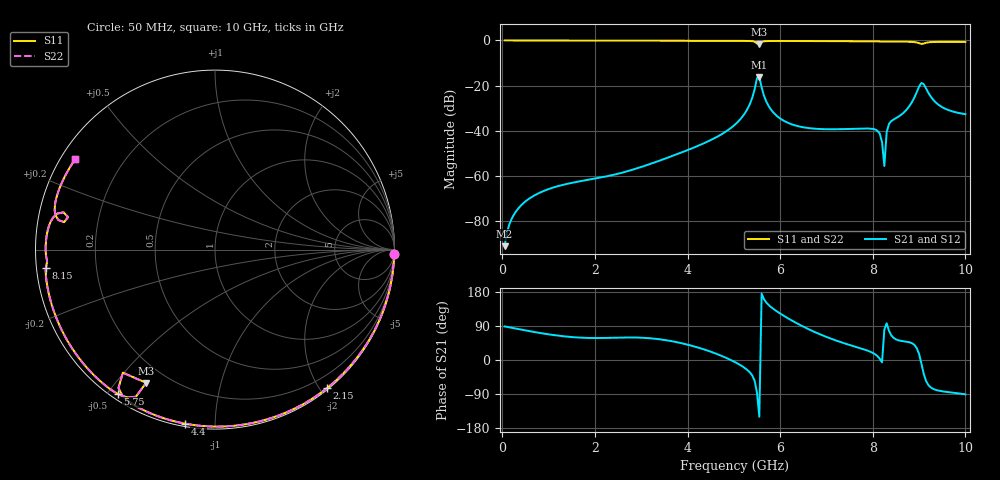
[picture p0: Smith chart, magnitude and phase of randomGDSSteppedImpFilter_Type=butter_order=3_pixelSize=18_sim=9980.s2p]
! freq	dB(S11)	phase(S11)	dB(S12)	phase(S12)
!  dB(S21)	phase(S21)	dB(S22)	phase(S22)
!S-par simulation data
#  GHz  S  DB  R 50
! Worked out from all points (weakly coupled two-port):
!   200 points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, 50 MHz to 10 GHz, reference 50 ohm
!   highest |S21| = -16.13 dB at 5.55 GHz (marker M1); lowest = -91.0 dB at 50 MHz (marker M2)
!   lowest |S11| = -1.6 dB at 5.55 GHz (marker M3), VSWR 11.17, Z = 6.12 - j30.1 ohm
!   |S11| at or under -10 dB: nowhere
!   |S22| runs from -1.6 to 0.0 dB; largest |S21 - S12| = 0
!   S11 on the Smith chart (normalised r, x): 50 MHz: 5, -91; 2.15 GHz: 0.02, -2.10; 4.4 GHz: 0.01, -0.84; 5.75 GHz: 0.02, -0.53; 8.15 GHz: 0.03, -0.05; 10 GHz: 0.04, +0.30
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0.05  -0.01 -1.3  -91.04 88.6  -91.04 88.6  -0.01 -1.3
0.75  -0.02 -18.1  -67.96 72.6  -67.96 72.6  -0.02 -18.1
1.75  -0.05 -41.8  -62.05 58.6  -62.05 58.6  -0.05 -41.8
2.15  -0.07 -51.0  -60.56 58.0  -60.56 58.0  -0.07 -51.0
3.4  -0.10 -78.6  -53.17 54.6  -53.17 54.6  -0.10 -78.6
4.4  -0.14 -99.6  -45.07 26.2  -45.07 26.2  -0.14 -99.6
5.05  -0.18 -113.2  -36.76 -7.2  -36.76 -7.2  -0.18 -113.2
5.3  -0.23 -119.2  -30.11 -27.3  -30.11 -27.3  -0.23 -119.2
5.45  -0.54 -124.9  -21.54 -55.0  -21.54 -55.0  -0.54 -124.9
5.55  -1.56 -117.3  -16.13 -149.7  -16.13 -149.7  -1.56 -117.3
5.75  -0.27 -124.1  -28.97 145.3  -28.97 145.3  -0.27 -124.1
6.1  -0.24 -132.1  -35.79 115.0  -35.79 115.0  -0.24 -132.1
6.7  -0.28 -144.2  -38.98 76.4  -38.98 76.4  -0.28 -144.2
8.15  -0.47 -173.9  -41.24 3.2  -41.24 3.2  -0.47 -173.9
8.2  -0.52 -175.0  -44.95 -6.2  -44.95 -6.2  -0.51 -175.0
8.25  -0.56 -175.8  -55.56 80.1  -55.56 80.1  -0.56 -175.8
8.3  -0.55 -176.5  -40.60 96.9  -40.60 96.9  -0.55 -176.5
8.35  -0.53 -177.4  -36.95 77.0  -36.95 77.0  -0.53 -177.4
8.75  -0.56 173.1  -30.16 48.0  -30.16 48.0  -0.56 173.0
9.05  -1.53 167.5  -18.82 -9.1  -18.82 -9.1  -1.53 167.5
9.45  -0.62 160.8  -28.91 -81.5  -28.91 -81.5  -0.62 160.7
10  -0.65 146.9  -32.64 -90.5  -32.64 -90.5  -0.65 146.9
